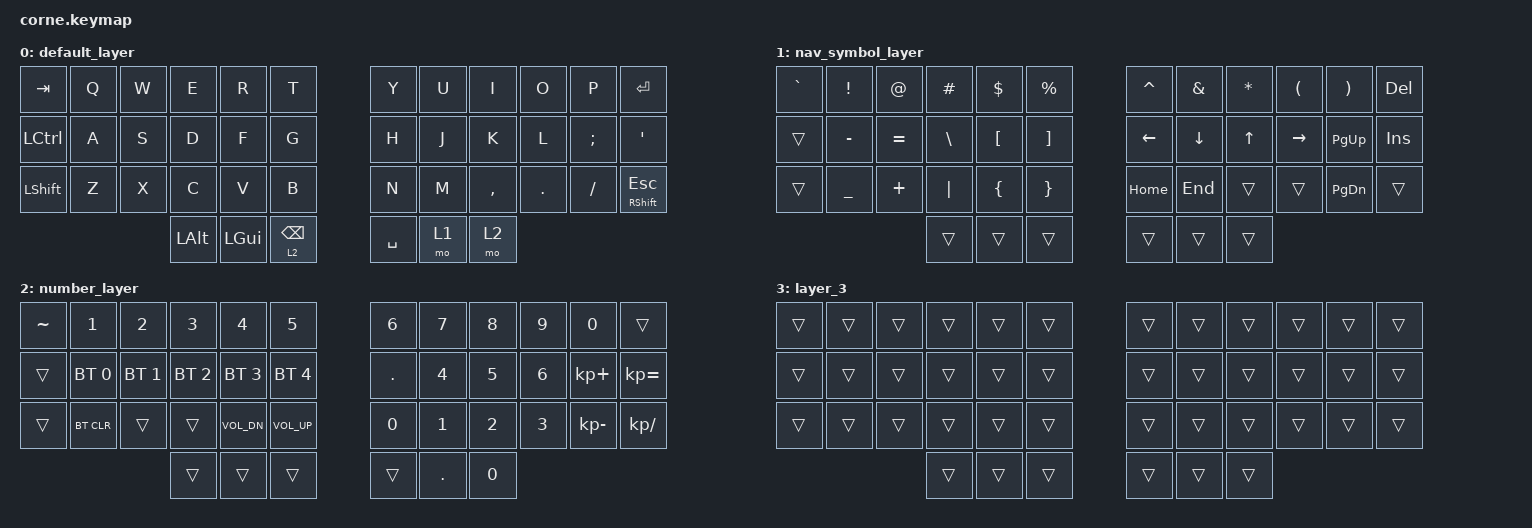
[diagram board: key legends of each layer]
/*
 * Copyright (c) 2020 The ZMK Contributors
 *
 * SPDX-License-Identifier: MIT
 */

#include <behaviors.dtsi>
#include <dt-bindings/zmk/bt.h>
#include <dt-bindings/zmk/keys.h>

/ {
    combos {
        compatible = "zmk,combos";

        esc {
            bindings = <&kp ESC>;
            key-positions = <0 1>;
        };

        prev_tab {
            bindings = <&kp LC(PG_UP)>;
            key-positions = <10 11>;
        };

        next_tab {
            bindings = <&kp LC(PG_DN)>;
            key-positions = <22 23>;
        };
    };

    keymap {
        compatible = "zmk,keymap";

        default_layer {
            // -----------------------------------------------------------------------------------------
            // |  TAB |  Q  |  W  |  E  |  R  |  T   |   |  Y  |  U   |  I  |  O  |  P  | RET |
            // | CTRL |  A  |  S  |  D  |  F  |  G   |   |  H  |  J   |  K  |  L  |  ;  |  '  |
            // | SHFT |  Z  |  X  |  C  |  V  |  B   |   |  N  |  M   |  ,  |  .  |  /  | ESC |
            //                    | ALT | GUI | BKSP |   | SPC | RSE  | LWR |

            bindings = <
&kp TAB    &kp Q  &kp W  &kp E     &kp R     &kp T       &kp Y      &kp U  &kp I      &kp O    &kp P     &kp RET
&kp LCTRL  &kp A  &kp S  &kp D     &kp F     &kp G       &kp H      &kp J  &kp K      &kp L    &kp SEMI  &kp SQT
&kp LSHFT  &kp Z  &kp X  &kp C     &kp V     &kp B       &kp N      &kp M  &kp COMMA  &kp DOT  &kp FSLH  &mt RIGHT_SHIFT ESC
                         &kp LALT  &kp LGUI  &lt 2 BSPC  &kp SPACE  &mo 1  &mo 2
            >;
        };

        nav_symbol_layer {
            // -----------------------------------------------------------------------------------------
            // |  `   |  !  |  @  |  #  |  $  |  %  |   |  ^  |  &  |  *  |  (  |  )  | BKSP |
            // | CTRL |  -  |  =  |  \  |  [  |  ]  |   | LFT | DWN |  UP | RGT | PUP | INS  |
            // | SHFT |  _  |  +  |  |  |  {  |  }  |   | HOM | END |     |     | PDN | DEL  |
            //                    |     |     |     |   |     |     |     |

            bindings = <
&kp GRAVE  &kp EXCL   &kp AT     &kp HASH  &kp DLLR  &kp PRCNT  &kp CARET  &kp AMPS  &kp ASTERISK  &kp LPAR   &kp RPAR   &kp DEL
&trans     &kp MINUS  &kp EQUAL  &kp BSLH  &kp LBKT  &kp RBKT   &kp LEFT   &kp DOWN  &kp UP        &kp RIGHT  &kp PG_UP  &kp INS
&trans     &kp UNDER  &kp PLUS   &kp PIPE  &kp LBRC  &kp RBRC   &kp HOME   &kp END   &trans        &trans     &kp PG_DN  &trans
                                 &trans    &trans    &trans     &trans     &trans    &trans
            >;
        };

        number_layer {
            // -----------------------------------------------------------------------------------------
            // |  ~   |  1  |  2  |  3  |  4  |  5  |   |  6  |  7  |  8  |  9  |  0  |      |
            // | CTRL | BT1 | BT2 | BT3 | BT4 | BT5 |   |  .  |  4  |  5  |  6  |  +  |  =   |
            // | SHFT |BTCLR|     |     |     |     |   |  0  |  1  |  2  |  3  |  -  |  /   |
            //                    |     |     |     |   |     |  .  |  0  |

            bindings = <
&kp TILDE  &kp N1        &kp N2        &kp N3        &kp N4        &kp N5        &kp N6   &kp N7   &kp N8  &kp N9  &kp N0        &trans
&trans     &bt BT_SEL 0  &bt BT_SEL 1  &bt BT_SEL 2  &bt BT_SEL 3  &bt BT_SEL 4  &kp DOT  &kp N4   &kp N5  &kp N6  &kp KP_PLUS   &kp KP_EQUAL
&trans     &bt BT_CLR    &trans        &trans        &kp C_VOL_DN  &kp C_VOL_UP  &kp N0   &kp N1   &kp N2  &kp N3  &kp KP_MINUS  &kp KP_DIVIDE
                                       &trans        &trans        &trans        &trans   &kp DOT  &kp N0
            >;
        };

        layer_3 {
            bindings = <
&trans  &trans  &trans  &trans  &trans  &trans  &trans  &trans  &trans  &trans  &trans  &trans
&trans  &trans  &trans  &trans  &trans  &trans  &trans  &trans  &trans  &trans  &trans  &trans
&trans  &trans  &trans  &trans  &trans  &trans  &trans  &trans  &trans  &trans  &trans  &trans
                        &trans  &trans  &trans  &trans  &trans  &trans
            >;
        };
    };
};
